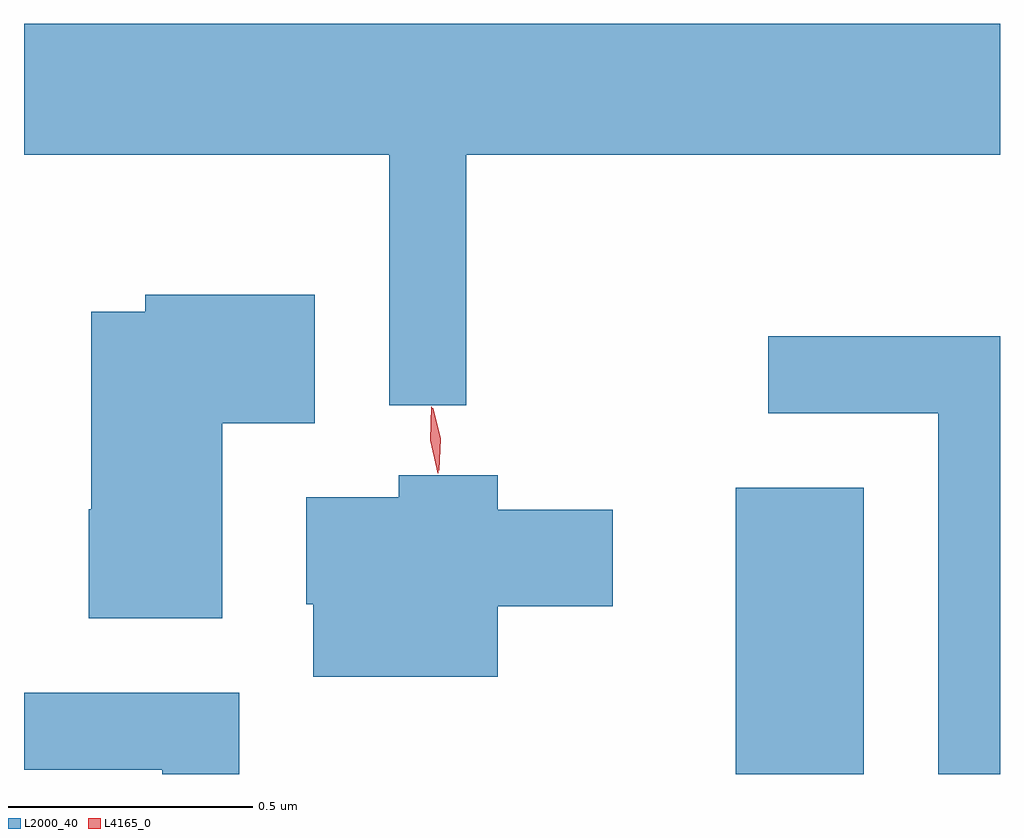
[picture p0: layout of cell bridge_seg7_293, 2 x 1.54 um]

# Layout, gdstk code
import gdstk
lib = gdstk.Library(unit=1e-6, precision=1e-09)
def R(c, l, rs):  # rectangles x0, y0, x1, y1
    for r in rs: c.add(gdstk.rectangle(r[:2], r[2:], *l))
def P(c, l, *ps):  # polygons
    for p in ps: c.add(gdstk.Polygon(p, *l))
L2000_40 = (2000, 40)
L4165_0 = (4165, 0)

bridge_seg7_293 = lib.new_cell('bridge_seg7_293')
R(bridge_seg7_293, L2000_40, [(1282.326,1737.467,1282.589,1738.054)])
P(bridge_seg7_293, L2000_40, [(1281.774,1738.736),(1282.868,1738.736),(1282.868,1739.004),(1280.868,1739.004),(1280.868,1738.736),(1281.616,1738.736),(1281.616,1738.223),(1281.774,1738.223)],
  [(1281.274,1738.186),(1281.464,1738.186),(1281.464,1738.449),(1281.116,1738.449),(1281.116,1738.414),(1281.006,1738.414),(1281.006,1738.01),(1281.001,1738.01),(1281.001,1737.786),(1281.274,1737.786)],
  [(1282.868,1738.364),(1282.393,1738.364),(1282.393,1738.206),(1282.741,1738.206),(1282.741,1737.467),(1282.868,1737.467)],
  [(1281.839,1737.811),(1282.074,1737.811),(1282.074,1738.009),(1281.839,1738.009),(1281.839,1738.079),(1281.636,1738.079),(1281.636,1738.034),(1281.446,1738.034),(1281.446,1737.815),(1281.461,1737.815),(1281.461,1737.666),(1281.839,1737.666)],
  [(1281.309,1737.634),(1280.868,1737.634),(1280.868,1737.476),(1281.151,1737.476),(1281.151,1737.467),(1281.309,1737.467)])
P(bridge_seg7_293, L4165_0, [(1281.716,1738.083),(1281.7,1738.151),(1281.703,1738.22),(1281.704,1738.22),(1281.704,1738.22),(1281.72,1738.152),(1281.717,1738.083),(1281.717,1738.083)],
  [(1281.719,1738.089),(1281.718,1738.09),(1281.703,1738.152),(1281.706,1738.217),(1281.706,1738.217),(1281.707,1738.217),(1281.722,1738.154),(1281.719,1738.09)])

lib.write_gds('bridge_seg7_293.gds')
